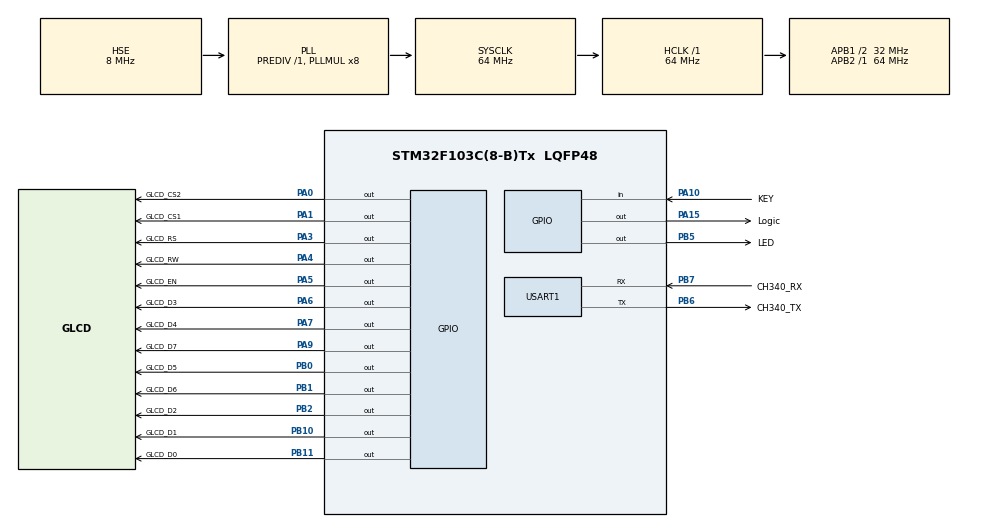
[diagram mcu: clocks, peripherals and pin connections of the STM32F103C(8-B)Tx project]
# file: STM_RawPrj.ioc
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Mcu.Family=STM32F1
Mcu.Name=STM32F103C(8-B)Tx
Mcu.Package=LQFP48
NVIC.PriorityGroup=NVIC_PRIORITYGROUP_4
PA0-WKUP.GPIO_Label=GLCD_CS2
PA0-WKUP.GPIO_Speed=GPIO_SPEED_FREQ_HIGH
PA0-WKUP.Signal=GPIO_Output
PA1.GPIO_Label=GLCD_CS1
PA1.GPIO_Speed=GPIO_SPEED_FREQ_HIGH
PA1.Signal=GPIO_Output
PA10.GPIO_Label=KEY
PA10.Signal=GPIO_Input
PA13.GPIO_Label=SYS_SWDIO
PA13.Mode=Trace_Asynchronous_SW
PA13.Signal=SYS_JTMS-SWDIO
PA14.GPIO_Label=SYS_SWCLK
PA14.Mode=Trace_Asynchronous_SW
PA14.Signal=SYS_JTCK-SWCLK
PA15.GPIO_Label=Logic
PA15.Signal=GPIO_Output
PA3.GPIO_Label=GLCD_RS
PA3.GPIO_Speed=GPIO_SPEED_FREQ_HIGH
PA3.Signal=GPIO_Output
PA4.GPIO_Label=GLCD_RW
PA4.GPIO_Speed=GPIO_SPEED_FREQ_HIGH
PA4.Signal=GPIO_Output
PA5.GPIO_Label=GLCD_EN
PA5.GPIO_Speed=GPIO_SPEED_FREQ_HIGH
PA5.Signal=GPIO_Output
PA6.GPIO_Label=GLCD_D3
PA6.GPIO_Speed=GPIO_SPEED_FREQ_HIGH
PA6.Signal=GPIO_Output
PA7.GPIO_Label=GLCD_D4
PA7.GPIO_Speed=GPIO_SPEED_FREQ_HIGH
PA7.Signal=GPIO_Output
PA9.GPIO_Label=GLCD_D7
PA9.GPIO_Speed=GPIO_SPEED_FREQ_HIGH
PA9.Signal=GPIO_Output
PB0.GPIO_Label=GLCD_D5
PB0.GPIO_Speed=GPIO_SPEED_FREQ_HIGH
PB0.Signal=GPIO_Output
PB1.GPIO_Label=GLCD_D6
PB1.GPIO_Speed=GPIO_SPEED_FREQ_HIGH
PB1.Signal=GPIO_Output
PB10.GPIO_Label=GLCD_D1
PB10.GPIO_Speed=GPIO_SPEED_FREQ_HIGH
PB10.Signal=GPIO_Output
PB11.GPIO_Label=GLCD_D0
PB11.GPIO_Speed=GPIO_SPEED_FREQ_HIGH
PB11.Signal=GPIO_Output
PB2.GPIO_Label=GLCD_D2
PB2.GPIO_Speed=GPIO_SPEED_FREQ_HIGH
PB2.Signal=GPIO_Output
PB3.GPIO_Label=SYS_SWO
PB3.Mode=Trace_Asynchronous_SW
PB3.Signal=SYS_JTDO-TRACESWO
PB5.GPIO_Label=LED
PB5.Signal=GPIO_Output
PB6.GPIO_Label=CH340_TX
PB6.Mode=Asynchronous
PB6.Signal=USART1_TX
PB7.GPIO_Label=CH340_RX
PB7.Mode=Asynchronous
PB7.Signal=USART1_RX
PC14-OSC32_IN.Mode=LSE-External-Oscillator
PC14-OSC32_IN.Signal=RCC_OSC32_IN
PC15-OSC32_OUT.Mode=LSE-External-Oscillator
PC15-OSC32_OUT.Signal=RCC_OSC32_OUT
PD0-OSC_IN.Mode=HSE-External-Oscillator
PD0-OSC_IN.Signal=RCC_OSC_IN
PD1-OSC_OUT.Mode=HSE-External-Oscillator
PD1-OSC_OUT.Signal=RCC_OSC_OUT
ProjectManager.HeapSize=0x200
ProjectManager.StackSize=0x400
ProjectManager.TargetToolchain=MDK-ARM V5.32
RCC.AHBFreq_Value=64000000
RCC.APB1CLKDivider=RCC_HCLK_DIV2
RCC.APB1Freq_Value=32000000
RCC.APB1TimFreq_Value=64000000
RCC.APB2Freq_Value=64000000
RCC.APB2TimFreq_Value=64000000
RCC.EnbaleCSS=true
RCC.HCLKFreq_Value=64000000
RCC.HSICalibrationValue=16
RCC.PLLMUL=RCC_PLL_MUL8
RCC.PLLSourceVirtual=RCC_PLLSOURCE_HSE
RCC.RCC_MCOSource=RCC_MCO1SOURCE_HSE
RCC.SYSCLKFreq_VALUE=64000000
RCC.SYSCLKSource=RCC_SYSCLKSOURCE_PLLCLK
RCC.USBFreq_Value=64000000
USART1.VirtualMode=VM_ASYNC
board=custom

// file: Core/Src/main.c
/* USER CODE BEGIN Header */
/**
  ******************************************************************************
  * @file           : main.c
  * @brief          : Main program body
  ******************************************************************************
  * @attention
  *
  * Copyright (c) 2025 STMicroelectronics.
  * All rights reserved.
  *
  * This software is licensed under terms that can be found in the LICENSE file
  * in the root directory of this software component.
  * If no LICENSE file comes with this software, it is provided AS-IS.
  *
  ******************************************************************************
  */
/* USER CODE END Header */
#include "main.h"
#include "usart.h"
#include "gpio.h"

/* USER CODE BEGIN Includes */
#include "akareza.h"
/* USER CODE END Includes */

/* USER CODE BEGIN PV */
uint32_t Counter = 0;
uint16_t Timer = 0;
char glcdBuffer[100];

const uint8_t gLCD_Logo_Scanner[1024] = {
0xE0, 0xE0, 0x20, 0x20, 0x20, 0x20, 0x20, 0x20, 0x00, 0x00, 0x00, 0x00, 0x00, 0x00, 0x00, 0x00,
0x00, 0x00, 0x00, 0x00, 0x00, 0x00, 0x00, 0x00, 0x00, 0x00, 0x00, 0x00, 0x00, 0x00, 0x00, 0x00,
0x00, 0x00, 0x00, 0x00, 0x00, 0x00, 0x00, 0x00, 0x00, 0x00, 0x00, 0x00, 0x20, 0x20, 0x20, 0x20,
0x20, 0x20, 0xE0, 0x00, 0x00, 0x00, 0x00, 0x00, 0x00, 0x00, 0x00, 0x30, 0x30, 0x30, 0x30, 0x30,
0x30, 0x30, 0x30, 0x30, 0x30, 0x30, 0x30, 0x30, 0x30, 0x30, 0x30, 0x30, 0x30, 0x30, 0x30, 0x30,
0x30, 0x30, 0x37, 0x3F, 0xFF, 0xC7, 0x07, 0x07, 0x07, 0x0F, 0x7F, 0xFF, 0xC7, 0x07, 0x07, 0x07,
0x07, 0x07, 0x07, 0x07, 0x07, 0x07, 0x07, 0x07, 0x07, 0x07, 0x07, 0x07, 0x07, 0x07, 0x07, 0x07,
0x07, 0x07, 0x07, 0x07, 0x07, 0x07, 0x07, 0x06, 0x0E, 0x0C, 0x1C, 0x38, 0x70, 0xE0, 0xC0, 0x00,
0x0F, 0x0F, 0x00, 0x00, 0x00, 0xFC, 0x00, 0x00, 0xFC, 0xFC, 0xFC, 0x00, 0x00, 0xFC, 0x00, 0xF8,
0xFC, 0x00, 0xFC, 0xFC, 0xFC, 0x00, 0x00, 0xFC, 0x00, 0x00, 0xFC, 0x00, 0xF8, 0xFC, 0x00, 0x00,
0xFC, 0xFC, 0xFC, 0x00, 0x00, 0xFC, 0x00, 0xFC, 0xFC, 0x00, 0x00, 0xFC, 0x00, 0xFC, 0x00, 0x00,
0x00, 0x00, 0x1F, 0x00, 0x00, 0x00, 0x00, 0x00, 0x00, 0x00, 0x00, 0x00, 0x00, 0x00, 0x00, 0x00,
0x00, 0x00, 0x00, 0x00, 0x00, 0x00, 0x00, 0x00, 0x00, 0x00, 0x00, 0x00, 0x00, 0x00, 0x00, 0x00,
0x00, 0x00, 0x00, 0x00, 0x01, 0x0F, 0x7E, 0xF8, 0xE0, 0x00, 0x00, 0x01, 0x0F, 0x7E, 0xF8, 0xC0,
0x00, 0x00, 0x00, 0x00, 0x00, 0x00, 0x00, 0x00, 0x00, 0x00, 0x00, 0x00, 0x00, 0x00, 0x00, 0x00,
0x00, 0x00, 0x00, 0x00, 0x00, 0x00, 0x00, 0x00, 0x00, 0x00, 0x00, 0x00, 0x00, 0x83, 0xFF, 0xFE,

0x00, 0x00, 0x00, 0x00, 0x00, 0xFF, 0x00, 0x00, 0xFF, 0xFF, 0xFF, 0x00, 0x00, 0xFF, 0x00, 0xFF,
0xFF, 0x00, 0xFF, 0xFF, 0xFF, 0x00, 0x00, 0xFF, 0x00, 0x00, 0xFF, 0x00, 0xFF, 0xFF, 0x00, 0x00,
0xFF, 0xFF, 0xFF, 0x00, 0x00, 0xFF, 0x00, 0xFF, 0xFF, 0x00, 0x00, 0xFF, 0x00, 0xFF, 0x00, 0x00,
0x00, 0x00, 0x00, 0x00, 0x00, 0x00, 0x00, 0x00, 0x00, 0x00, 0x00, 0x00, 0x00, 0x00, 0x00, 0x00,
0x00, 0x00, 0x00, 0x00, 0x00, 0x00, 0x00, 0x00, 0x00, 0x00, 0x00, 0x00, 0x00, 0x00, 0x00, 0x00,
0x80, 0x80, 0x80, 0xC0, 0xC0, 0xE0, 0x60, 0x61, 0x7F, 0x7F, 0xF8, 0xC0, 0x80, 0x80, 0x83, 0x8F,
0xFE, 0xF0, 0xC0, 0x80, 0x80, 0x80, 0x80, 0x80, 0x80, 0x80, 0x80, 0x80, 0x80, 0x80, 0x80, 0x80,
0x80, 0x80, 0x80, 0x80, 0x80, 0x80, 0xC0, 0xC0, 0xC0, 0xE0, 0x70, 0x30, 0x1C, 0x0F, 0x07, 0x00,
0xF8, 0xFC, 0x00, 0x00, 0x00, 0x1F, 0x00, 0x00, 0x13, 0x03, 0x03, 0x10, 0x00, 0x03, 0x10, 0x01,
0x03, 0x10, 0x03, 0x03, 0x13, 0x00, 0x10, 0x03, 0x00, 0x00, 0x1F, 0x00, 0x11, 0x03, 0x00, 0x10,
0x03, 0x03, 0x13, 0x00, 0x00, 0x13, 0x00, 0x13, 0x13, 0x00, 0x00, 0x13, 0x00, 0x1F, 0x00, 0x00,
0x00, 0x00, 0xFC, 0x00, 0x00, 0x00, 0x00, 0x00, 0x00, 0x00, 0x00, 0x00, 0x00, 0x80, 0x80, 0xC0,
0xC0, 0xE0, 0x60, 0x60, 0x30, 0x30, 0x38, 0x18, 0x1C, 0x1C, 0x0C, 0x0E, 0x06, 0x06, 0x03, 0x03,
0x03, 0x01, 0x01, 0x01, 0x00, 0x00, 0x00, 0x00, 0x00, 0x00, 0x01, 0x01, 0x01, 0x01, 0x01, 0x01,
0x01, 0x01, 0x01, 0x01, 0x01, 0x01, 0x01, 0x01, 0x0F, 0x3F, 0xF1, 0xC1, 0x01, 0x01, 0x01, 0x01,
0x01, 0x01, 0x01, 0x03, 0x1F, 0xFD, 0xF1, 0x80, 0x00, 0x00, 0x00, 0x00, 0x00, 0x00, 0x00, 0x00,

0x03, 0x03, 0x02, 0x02, 0x02, 0x02, 0x02, 0x02, 0x00, 0x00, 0x00, 0x00, 0x00, 0x00, 0x00, 0x00,
0x00, 0x00, 0x00, 0x00, 0x00, 0x00, 0x00, 0x00, 0x00, 0x00, 0x00, 0x00, 0x00, 0x00, 0x00, 0x00,
0x00, 0x00, 0x00, 0x00, 0x00, 0x00, 0x00, 0x00, 0x00, 0x00, 0x00, 0x00, 0x02, 0x02, 0x02, 0x02,
0x02, 0x02, 0x03, 0x00, 0x00, 0x00, 0x00, 0x00, 0x00, 0x00, 0x00, 0x03, 0x03, 0x01, 0x01, 0x01,
0x00, 0x00, 0x00, 0x00, 0x00, 0x00, 0x00, 0x00, 0x00, 0x00, 0x00, 0x00, 0x00, 0x00, 0x00, 0x00,
0x00, 0x00, 0x00, 0x00, 0x00, 0x00, 0x00, 0x00, 0x00, 0x00, 0x00, 0x00, 0x00, 0x00, 0x00, 0x00,
0x00, 0x00, 0x00, 0x00, 0x00, 0x00, 0x3E, 0xFF, 0xE3, 0x83, 0x03, 0x0F, 0x7E, 0xF0, 0xC0, 0x00,
0x00, 0x00, 0x00, 0x00, 0x00, 0x00, 0x03, 0x1F, 0xFC, 0xF0, 0x80, 0x00, 0x00, 0x00, 0x00, 0x00,
0x00, 0x00, 0x00, 0x00, 0x00, 0x00, 0x00, 0x00, 0x00, 0x00, 0x00, 0x00, 0x00, 0x00, 0x00, 0x00,
0x00, 0x00, 0x00, 0x00, 0x00, 0x00, 0x00, 0x00, 0x00, 0x00, 0x00, 0x00, 0x00, 0x00, 0x00, 0x00,
0x00, 0x00, 0x00, 0x00, 0x00, 0x00, 0x00, 0x00, 0x00, 0x00, 0x00, 0x00, 0x00, 0x00, 0x00, 0x00,
0x00, 0x00, 0x00, 0x00, 0x00, 0x00, 0x00, 0x00, 0x00, 0x00, 0x00, 0x00, 0x00, 0x00, 0x00, 0x00,
0x00, 0x00, 0x00, 0x00, 0x00, 0x00, 0x00, 0x00, 0x00, 0x00, 0x00, 0x00, 0x00, 0x00, 0x00, 0x00,
0x00, 0x00, 0x00, 0x00, 0x00, 0x00, 0x00, 0x00, 0x00, 0x00, 0x00, 0x00, 0x00, 0x00, 0x00, 0x00,
0x00, 0x00, 0x00, 0x00, 0x00, 0x00, 0x00, 0x00, 0x03, 0x07, 0x0E, 0x0C, 0x0C, 0x0D, 0x0F, 0x3E,
0xF8, 0xE0, 0x00, 0x00, 0x00, 0x00, 0x00, 0x00, 0x00, 0x03, 0x1F, 0x7E, 0xF0, 0x80, 0x00, 0x00,

0x00, 0x00, 0x00, 0x00, 0x00, 0x00, 0x00, 0x00, 0x00, 0x00, 0x00, 0x00, 0x00, 0x00, 0x00, 0x00,
0x00, 0x00, 0x00, 0x00, 0x00, 0x00, 0x00, 0x00, 0x00, 0x00, 0x00, 0x00, 0x00, 0x00, 0x00, 0x00,
0x00, 0x00, 0x00, 0x00, 0x00, 0x00, 0x00, 0x00, 0x00, 0x00, 0x00, 0x00, 0x00, 0x00, 0x00, 0x00,
0x00, 0x00, 0x00, 0x00, 0x00, 0x00, 0x00, 0x00, 0x00, 0x00, 0x00, 0x00, 0x00, 0x00, 0x00, 0x00,
0x00, 0x00, 0x00, 0x00, 0x00, 0x00, 0x00, 0x00, 0x00, 0x00, 0x00, 0x00, 0x00, 0x00, 0x00, 0x00,
0x00, 0x00, 0x00, 0x00, 0x00, 0x00, 0x00, 0x00, 0x00, 0x00, 0x00, 0x00, 0x00, 0x00, 0x00, 0x00,
0x00, 0x00, 0x00, 0x00, 0x00, 0x00, 0x00, 0x00, 0x00, 0x00, 0x00, 0x00, 0xC0, 0xF0, 0xF0, 0x30,
0x19, 0x1F, 0x0F, 0x00, 0x00, 0x00, 0x00, 0x00, 0x00, 0x00, 0x00, 0x00, 0x03, 0x1F, 0xFC, 0xF0,
0x00, 0x00, 0x00, 0x00, 0x00, 0x00, 0x00, 0x00, 0x00, 0x00, 0x00, 0x00, 0x00, 0x00, 0x00, 0x00,
0x00, 0x00, 0x00, 0x00, 0x00, 0x00, 0x00, 0x00, 0x00, 0x00, 0x00, 0x00, 0x00, 0x00, 0x00, 0x00,
0x00, 0x00, 0x00, 0x00, 0x00, 0x00, 0x00, 0x00, 0x00, 0x00, 0x00, 0x00, 0x00, 0x00, 0x00, 0x00,
0x00, 0x00, 0x00, 0x00, 0x00, 0x00, 0x00, 0x00, 0x00, 0x00, 0x00, 0x00, 0x00, 0x00, 0x00, 0x00,
0x00, 0x00, 0x00, 0x00, 0x00, 0x00, 0x00, 0x00, 0x00, 0x00, 0x00, 0x00, 0x00, 0x00, 0x00, 0x00,
0x00, 0x00, 0x00, 0x00, 0x00, 0x00, 0x00, 0x00, 0x00, 0x00, 0x00, 0x00, 0x00, 0x00, 0x00, 0x00,
0x00, 0x00, 0x00, 0x00, 0x00, 0x00, 0x00, 0x00, 0x00, 0x00, 0x00, 0x00, 0x1F, 0x7F, 0xFF, 0xC0,
0xC0, 0xC0, 0xC0, 0xC0, 0xC0, 0xC0, 0xC0, 0xC0, 0xC0, 0xE0, 0xE0, 0x70, 0x78, 0x1E, 0x0F, 0x03
};

const uint8_t gLCD_Logo_Error[1024] = {
0x00, 0x00, 0x00, 0x00, 0x00, 0x00, 0x00, 0x00, 0x00, 0x00, 0x00, 0x00, 0x00, 0x00, 0x00, 0x00,
0x00, 0x00, 0x00, 0x00, 0x00, 0x00, 0x00, 0x00, 0x00, 0x00, 0x00, 0x00, 0x00, 0x00, 0x00, 0x00,
0x00, 0x00, 0x00, 0x00, 0x00, 0x00, 0x00, 0x00, 0x00, 0x00, 0x00, 0x00, 0x00, 0x00, 0x00, 0x00,
0x00, 0x00, 0x00, 0x00, 0x00, 0x00, 0x00, 0x00, 0x00, 0x80, 0xC0, 0x70, 0x18, 0x08, 0x18, 0x38,
0xE0, 0x80, 0x00, 0x00, 0x00, 0x00, 0x00, 0x00, 0x00, 0x00, 0x00, 0x00, 0x00, 0x00, 0x00, 0x00,
0x00, 0x00, 0x00, 0x00, 0x00, 0x00, 0x00, 0x00, 0x00, 0x00, 0x00, 0x00, 0x00, 0x00, 0x00, 0x00,
0x00, 0x00, 0x00, 0x00, 0x00, 0x00, 0x00, 0x00, 0x00, 0x00, 0x00, 0x00, 0x00, 0x00, 0x00, 0x00,
0x00, 0x00, 0x00, 0x00, 0x00, 0x00, 0x00, 0x00, 0x00, 0x00, 0x00, 0x00, 0x00, 0x00, 0x00, 0x00,
0x00, 0x00, 0x00, 0x00, 0x00, 0x00, 0x00, 0x00, 0x00, 0x00, 0x00, 0x00, 0x00, 0x00, 0x00, 0x00,
0x00, 0x00, 0x00, 0x00, 0x00, 0x00, 0x00, 0x00, 0x00, 0x00, 0x00, 0x00, 0x00, 0x00, 0x00, 0x00,
0x00, 0x00, 0x00, 0x00, 0x00, 0x00, 0x00, 0x00, 0x00, 0x00, 0x00, 0x00, 0x00, 0x00, 0x00, 0x00,
0x00, 0x00, 0x00, 0x00, 0x00, 0xC0, 0xF0, 0x38, 0x0E, 0x03, 0x01, 0x80, 0xC0, 0x40, 0x40, 0xC0,
0x80, 0x03, 0x07, 0x1C, 0x70, 0xC0, 0x80, 0x00, 0x00, 0x00, 0x00, 0x00, 0x00, 0x00, 0x00, 0x00,
0x00, 0x00, 0x00, 0x00, 0x00, 0x00, 0x00, 0x00, 0x00, 0x00, 0x00, 0x00, 0x00, 0x00, 0x00, 0x00,
0x00, 0x00, 0x00, 0x00, 0x00, 0x00, 0x00, 0x00, 0x00, 0x00, 0x00, 0x00, 0x00, 0x00, 0x00, 0x00,
0x00, 0x00, 0x00, 0x00, 0x00, 0x00, 0x00, 0x00, 0x00, 0x00, 0x00, 0x00, 0x00, 0x00, 0x00, 0x00,

0x00, 0x00, 0x00, 0x00, 0x00, 0x00, 0x00, 0x00, 0x00, 0x00, 0x00, 0x00, 0x00, 0x00, 0x00, 0x00,
0x00, 0x00, 0x00, 0x00, 0x00, 0x00, 0x00, 0x00, 0x00, 0x00, 0x00, 0x00, 0x00, 0x00, 0x00, 0x00,
0x00, 0x00, 0x00, 0x00, 0x00, 0x00, 0x00, 0x00, 0x00, 0x00, 0x00, 0x00, 0x00, 0x00, 0x00, 0x00,
0x80, 0xE0, 0x38, 0x1C, 0x07, 0x01, 0x00, 0x00, 0x00, 0x00, 0xFF, 0xFF, 0x00, 0x00, 0x00, 0x01,
0xFF, 0x00, 0x00, 0x00, 0x00, 0x01, 0x03, 0x0E, 0x38, 0x70, 0xC0, 0x00, 0x00, 0x00, 0x00, 0x00,
0x00, 0x00, 0x00, 0x00, 0x00, 0x00, 0x00, 0x00, 0x00, 0x00, 0x00, 0x00, 0x00, 0x00, 0x00, 0x00,
0x00, 0x00, 0x00, 0x00, 0x00, 0x00, 0x00, 0x00, 0x00, 0x00, 0x00, 0x00, 0x00, 0x00, 0x00, 0x00,
0x00, 0x00, 0x00, 0x00, 0x00, 0x00, 0x00, 0x00, 0x00, 0x00, 0x00, 0x00, 0x00, 0x00, 0x00, 0x00,
0x00, 0x00, 0x00, 0x00, 0x00, 0x00, 0x00, 0x00, 0x00, 0x00, 0x00, 0x00, 0x00, 0x00, 0x00, 0x00,
0x00, 0x00, 0x00, 0x00, 0x00, 0x00, 0x00, 0x00, 0x00, 0x00, 0x00, 0x00, 0x00, 0x00, 0x00, 0x00,
0x00, 0x00, 0x00, 0x00, 0x00, 0x00, 0x00, 0x00, 0x00, 0x00, 0x00, 0x00, 0xC0, 0x70, 0x1C, 0x0E,
0x03, 0x00, 0x00, 0x00, 0x00, 0x00, 0x00, 0x00, 0x00, 0x00, 0x03, 0x8F, 0x88, 0xD8, 0xD8, 0x8C,
0x07, 0x00, 0x00, 0x00, 0x00, 0x00, 0x00, 0x00, 0x00, 0x00, 0x01, 0x07, 0x1C, 0x38, 0xE0, 0x80,
0x00, 0x00, 0x00, 0x00, 0x00, 0x00, 0x00, 0x00, 0x00, 0x00, 0x00, 0x00, 0x00, 0x00, 0x00, 0x00,
0x00, 0x00, 0x00, 0x00, 0x00, 0x00, 0x00, 0x00, 0x00, 0x00, 0x00, 0x00, 0x00, 0x00, 0x00, 0x00,
0x00, 0x00, 0x00, 0x00, 0x00, 0x00, 0x00, 0x00, 0x00, 0x00, 0x00, 0x00, 0x00, 0x00, 0x00, 0x00,

0x00, 0x00, 0x00, 0x00, 0x00, 0x00, 0x00, 0x00, 0x00, 0x00, 0x00, 0x00, 0x00, 0x00, 0x00, 0x00,
0x00, 0x00, 0x00, 0x00, 0x00, 0x00, 0x00, 0x00, 0x00, 0x00, 0x00, 0x00, 0x00, 0x00, 0x00, 0x00,
0x00, 0x00, 0x00, 0x00, 0x00, 0x00, 0x00, 0xC0, 0xE0, 0x38, 0x0E, 0x07, 0x01, 0x00, 0x00, 0x00,
0x00, 0x00, 0x00, 0x00, 0x00, 0x00, 0x00, 0x00, 0x00, 0x00, 0x0F, 0x1F, 0x30, 0x30, 0x30, 0x19,
0x0F, 0x00, 0x00, 0x00, 0x00, 0x00, 0x00, 0x00, 0x00, 0x00, 0x00, 0x00, 0x00, 0x00, 0x00, 0x03,
0x0E, 0x1C, 0x70, 0xC0, 0x00, 0x00, 0x00, 0x00, 0x00, 0x00, 0x00, 0x00, 0x00, 0x00, 0x00, 0x00,
0x00, 0x00, 0x00, 0x00, 0x00, 0x00, 0x00, 0x00, 0x00, 0x00, 0x00, 0x00, 0x00, 0x00, 0x00, 0x00,
0x00, 0x00, 0x00, 0x00, 0x00, 0x00, 0x00, 0x00, 0x00, 0x00, 0x00, 0x00, 0x00, 0x00, 0x00, 0x00,
0x00, 0x00, 0x00, 0x00, 0x00, 0x00, 0x00, 0x00, 0x00, 0x00, 0x00, 0x00, 0x00, 0x00, 0x00, 0x00,
0x00, 0x00, 0x00, 0x00, 0x00, 0x00, 0x00, 0x00, 0x00, 0x00, 0x00, 0x00, 0x00, 0x00, 0x00, 0x00,
0x00, 0x00, 0x00, 0x00, 0x00, 0x00, 0x00, 0x03, 0x03, 0x06, 0x06, 0x06, 0x06, 0x06, 0x06, 0x06,
0x06, 0x06, 0x06, 0x06, 0x06, 0x06, 0x06, 0x06, 0x06, 0x06, 0x06, 0x06, 0x06, 0x06, 0x06, 0x06,
0x06, 0x06, 0x06, 0x06, 0x06, 0x06, 0x06, 0x06, 0x06, 0x06, 0x06, 0x06, 0x06, 0x06, 0x06, 0x06,
0x06, 0x06, 0x06, 0x03, 0x00, 0x00, 0x00, 0x00, 0x00, 0x00, 0x00, 0x00, 0x00, 0x00, 0x00, 0x00,
0x00, 0x00, 0x00, 0x00, 0x00, 0x00, 0x00, 0x00, 0x00, 0x00, 0x00, 0x00, 0x00, 0x00, 0x00, 0x00,
0x00, 0x00, 0x00, 0x00, 0x00, 0x00, 0x00, 0x00, 0x00, 0x00, 0x00, 0x00, 0x00, 0x00, 0x00, 0x00,

0x00, 0x00, 0x00, 0x00, 0x00, 0x00, 0x00, 0x00, 0x00, 0x00, 0x00, 0x00, 0x00, 0x00, 0x00, 0x00,
0x00, 0x00, 0x00, 0x00, 0x00, 0x00, 0x00, 0x00, 0x00, 0x00, 0x00, 0x00, 0x00, 0x00, 0x00, 0x00,
0x00, 0x00, 0x00, 0x00, 0x00, 0x00, 0x00, 0x00, 0x00, 0x00, 0x00, 0x00, 0x00, 0x00, 0x00, 0x00,
0x00, 0x00, 0x00, 0x00, 0x00, 0x00, 0x00, 0x00, 0x00, 0x00, 0x00, 0x00, 0x00, 0x00, 0x00, 0x00,
0x00, 0x00, 0x00, 0x00, 0x00, 0x00, 0x00, 0x00, 0x00, 0x00, 0x00, 0x00, 0x00, 0x00, 0x00, 0x00,
0x00, 0x00, 0x00, 0x00, 0x00, 0x00, 0x00, 0x00, 0x00, 0x00, 0x00, 0x00, 0x00, 0x00, 0x00, 0x00,
0x00, 0x00, 0x00, 0x00, 0x00, 0x00, 0x00, 0x00, 0x00, 0x00, 0x00, 0x00, 0x00, 0x00, 0x00, 0x00,
0x00, 0x00, 0x00, 0x00, 0x00, 0x00, 0x00, 0x00, 0x00, 0x00, 0x00, 0x00, 0x00, 0x00, 0x00, 0x00,
0x00, 0x00, 0x00, 0x00, 0x00, 0x00, 0x00, 0x00, 0x00, 0x00, 0x00, 0x00, 0x00, 0x00, 0x00, 0x00,
0x00, 0x00, 0x00, 0x00, 0x00, 0x00, 0x00, 0x00, 0x00, 0x00, 0x00, 0x00, 0x00, 0x00, 0x00, 0x00,
0x00, 0x00, 0x00, 0x00, 0x00, 0x00, 0x00, 0x00, 0x00, 0x00, 0x00, 0x00, 0x00, 0x00, 0x00, 0x00,
0x00, 0x00, 0x00, 0x00, 0x00, 0x00, 0x00, 0x00, 0x00, 0x00, 0x00, 0x00, 0x00, 0x00, 0x00, 0x00,
0x00, 0x00, 0x00, 0x00, 0x00, 0x00, 0x00, 0x00, 0x00, 0x00, 0x00, 0x00, 0x00, 0x00, 0x00, 0x00,
0x00, 0x00, 0x00, 0x00, 0x00, 0x00, 0x00, 0x00, 0x00, 0x00, 0x00, 0x00, 0x00, 0x00, 0x00, 0x00,
0x00, 0x00, 0x00, 0x00, 0x00, 0x00, 0x00, 0x00, 0x00, 0x00, 0x00, 0x00, 0x00, 0x00, 0x00, 0x00,
0x00, 0x00, 0x00, 0x00, 0x00, 0x00, 0x00, 0x00, 0x00, 0x00, 0x00, 0x00, 0x00, 0x00, 0x00, 0x00
};

// this file generated by Image2GLCD
const uint8_t gLCD_Logo_Done[1024] = {
0x00, 0x00, 0x00, 0x00, 0x00, 0x00, 0x00, 0x00, 0x00, 0x00, 0x00, 0x00, 0x00, 0x00, 0x00, 0x00,
0x00, 0x00, 0x80, 0x80, 0xC0, 0xC0, 0xE0, 0xE0, 0xE0, 0xF0, 0xF0, 0xF0, 0xF0, 0xF0, 0xF0, 0xF0,
0xF0, 0xF0, 0xF0, 0xF0, 0xF0, 0xF0, 0xF0, 0xF0, 0xF0, 0xF0, 0xF0, 0xF0, 0xF0, 0xF0, 0xF0, 0xF0,
0xF0, 0xF0, 0xF0, 0xF0, 0xF0, 0xF0, 0xF0, 0xF0, 0xF0, 0xF0, 0xF0, 0xF0, 0xF0, 0xF0, 0xF0, 0xF0,
0xF0, 0xF0, 0xF0, 0xF0, 0xF0, 0xF0, 0xF0, 0xF0, 0xF0, 0xF0, 0xF0, 0xF0, 0xF0, 0xF0, 0xF0, 0xF0,
0xF0, 0xF0, 0xF0, 0xF0, 0xF0, 0xF0, 0xF0, 0xF0, 0xF0, 0xF0, 0xF0, 0xF0, 0xF0, 0xF0, 0xF0, 0xF0,
0xF0, 0xF0, 0xE0, 0xE0, 0xE0, 0xC0, 0xC0, 0x80, 0x00, 0x00, 0x00, 0x00, 0x00, 0x00, 0x00, 0x00,
0x00, 0x00, 0x00, 0x00, 0x00, 0x00, 0x00, 0x00, 0x00, 0x00, 0x00, 0x00, 0x00, 0x00, 0x00, 0x00,
0x00, 0x00, 0x00, 0x00, 0x00, 0x00, 0x00, 0x00, 0x00, 0x00, 0x00, 0x00, 0x00, 0x80, 0xF0, 0xF8,
0xFE, 0xFF, 0xFF, 0xFF, 0xFF, 0xFF, 0xFF, 0xFF, 0xFF, 0xFF, 0xFF, 0xFF, 0xFF, 0xFF, 0xFF, 0xFF,
0xFF, 0xFF, 0xFF, 0xFF, 0x7F, 0x3F, 0x3F, 0x1F, 0x0F, 0x8F, 0xDF, 0xFF, 0xFF, 0xFF, 0xFF, 0xFF,
0xFF, 0xFF, 0xFF, 0xFF, 0xFF, 0xFF, 0xFF, 0xFF, 0x03, 0x03, 0x03, 0xF3, 0xF3, 0xE3, 0x07, 0x07,
0xFF, 0xFF, 0x0F, 0x07, 0x03, 0xE3, 0xF3, 0xF3, 0x03, 0x07, 0x0F, 0xFF, 0xFF, 0x03, 0x03, 0x03,
0x03, 0x1F, 0x7F, 0xFF, 0x03, 0x03, 0xFF, 0xFF, 0xFF, 0x03, 0x03, 0xF3, 0xF3, 0xF3, 0xF3, 0xF3,
0xFF, 0xFF, 0xFF, 0xFF, 0xFF, 0xFF, 0xFF, 0xFF, 0xFF, 0xFF, 0xFE, 0xFC, 0xF0, 0x80, 0x00, 0x00,
0x00, 0x00, 0x00, 0x00, 0x00, 0x00, 0x00, 0x00, 0x00, 0x00, 0x00, 0x00, 0x00, 0x00, 0x00, 0x00,

0x00, 0x00, 0x00, 0x00, 0x00, 0x00, 0x00, 0x00, 0x00, 0x00, 0x00, 0x00, 0x00, 0x07, 0x3F, 0x7F,
0xFF, 0xFF, 0xFF, 0xFF, 0xF8, 0xF8, 0xF0, 0xE1, 0xC3, 0x87, 0x8F, 0x0F, 0x1F, 0x0F, 0x8F, 0x87,
0xC3, 0xE1, 0xF1, 0xF0, 0xF8, 0xFC, 0xFE, 0xFE, 0xFF, 0xFF, 0xFF, 0xFF, 0xFF, 0xFF, 0xFF, 0xFF,
0xFF, 0xFF, 0xFF, 0xFF, 0xFF, 0xFF, 0xFF, 0xFF, 0x00, 0x00, 0x00, 0x3F, 0x3F, 0x3F, 0x00, 0x80,
0xFF, 0xFF, 0xC0, 0x00, 0x00, 0x3F, 0x3F, 0x3F, 0x00, 0x00, 0x80, 0xFF, 0xFF, 0x00, 0x00, 0x00,
0xFF, 0xF8, 0xC0, 0x03, 0x00, 0x00, 0xFF, 0xFF, 0xFF, 0x00, 0x00, 0x3C, 0x3C, 0x3C, 0x3C, 0x3F,
0xFF, 0xFF, 0xFF, 0xFF, 0xFF, 0xFF, 0xFF, 0xFF, 0xFF, 0xFF, 0xFF, 0x7F, 0x3F, 0x07, 0x00, 0x00,
0x00, 0x00, 0x00, 0x00, 0x00, 0x00, 0x00, 0x00, 0x00, 0x00, 0x00, 0x00, 0x00, 0x00, 0x00, 0x00,
0x00, 0x00, 0x00, 0x00, 0x00, 0x00, 0x00, 0x00, 0x00, 0x00, 0x00, 0x00, 0x00, 0x00, 0x00, 0x00,
0x01, 0x03, 0x03, 0x07, 0x0F, 0x0F, 0x1F, 0x1F, 0x1F, 0x1F, 0x3F, 0x3F, 0x3E, 0x3F, 0x3F, 0x3F,
0x3F, 0x3F, 0x3F, 0x3F, 0x3F, 0x3F, 0x3F, 0x3F, 0x3F, 0x3F, 0x3F, 0x3F, 0x3F, 0x3F, 0x3F, 0x3F,
0x3F, 0x3F, 0x3F, 0x3F, 0x3F, 0x3F, 0x3F, 0x3F, 0x3F, 0x3F, 0x3F, 0x3F, 0x3F, 0x3F, 0x3F, 0x3F,
0x3F, 0x3F, 0x3F, 0x3F, 0x3F, 0x3F, 0x3F, 0x3F, 0x3F, 0x3F, 0x3F, 0x3F, 0x3F, 0x3F, 0x3F, 0x3F,
0x3F, 0x3F, 0x3F, 0x3F, 0x3F, 0x3F, 0x3F, 0x3F, 0x3F, 0x3F, 0x3F, 0x3F, 0x3F, 0x3F, 0x3F, 0x3F,
0x3F, 0x1F, 0x1F, 0x1F, 0x0F, 0x0F, 0x07, 0x07, 0x03, 0x01, 0x00, 0x00, 0x00, 0x00, 0x00, 0x00,
0x00, 0x00, 0x00, 0x00, 0x00, 0x00, 0x00, 0x00, 0x00, 0x00, 0x00, 0x00, 0x00, 0x00, 0x00, 0x00,

0x00, 0x00, 0x00, 0x00, 0x00, 0x00, 0x00, 0x00, 0x00, 0x00, 0x00, 0x00, 0x00, 0x00, 0x00, 0x00,
0x00, 0x00, 0x00, 0x00, 0x00, 0x00, 0x00, 0x00, 0x00, 0x00, 0x00, 0x00, 0x00, 0x00, 0x00, 0x00,
0x00, 0x00, 0x00, 0x00, 0x00, 0x00, 0x00, 0x00, 0x00, 0x00, 0x00, 0x00, 0x00, 0x00, 0x00, 0x00,
0x00, 0x00, 0x00, 0x00, 0x00, 0x00, 0x00, 0x00, 0x00, 0x00, 0x00, 0x00, 0x00, 0x00, 0x00, 0x00,
0x00, 0x00, 0x00, 0x00, 0x00, 0x00, 0x00, 0x00, 0x00, 0x00, 0x00, 0x00, 0x00, 0x00, 0x00, 0x00,
0x00, 0x00, 0x00, 0x00, 0x00, 0x00, 0x00, 0x00, 0x00, 0x00, 0x00, 0x00, 0x00, 0x00, 0x00, 0x00,
0x00, 0x00, 0x00, 0x00, 0x00, 0x00, 0x00, 0x00, 0x00, 0x00, 0x00, 0x00, 0x00, 0x00, 0x00, 0x00,
0x00, 0x00, 0x00, 0x00, 0x00, 0x00, 0x00, 0x00, 0x00, 0x00, 0x00, 0x00, 0x00, 0x00, 0x00, 0x00,
0x00, 0x00, 0x00, 0x00, 0x00, 0x00, 0x00, 0x00, 0x00, 0x00, 0x00, 0x00, 0x00, 0x00, 0x00, 0x00,
0x00, 0x00, 0x00, 0x00, 0x00, 0x00, 0x00, 0x00, 0x00, 0x00, 0x00, 0x00, 0x00, 0x00, 0x00, 0x00,
0x00, 0x00, 0x00, 0x00, 0x00, 0x00, 0x00, 0x00, 0x00, 0x00, 0x00, 0x00, 0x00, 0x00, 0x00, 0x00,
0x00, 0x00, 0x00, 0x00, 0x00, 0x00, 0x00, 0x00, 0x00, 0x00, 0x00, 0x00, 0x00, 0x00, 0x00, 0x00,
0x00, 0x00, 0x00, 0x00, 0x00, 0x00, 0x00, 0x00, 0x00, 0x00, 0x00, 0x00, 0x00, 0x00, 0x00, 0x00,
0x00, 0x00, 0x00, 0x00, 0x00, 0x00, 0x00, 0x00, 0x00, 0x00, 0x00, 0x00, 0x00, 0x00, 0x00, 0x00,
0x00, 0x00, 0x00, 0x00, 0x00, 0x00, 0x00, 0x00, 0x00, 0x00, 0x00, 0x00, 0x00, 0x00, 0x00, 0x00,
0x00, 0x00, 0x00, 0x00, 0x00, 0x00, 0x00, 0x00, 0x00, 0x00, 0x00, 0x00, 0x00, 0x00, 0x00, 0x00,

0x00, 0x00, 0x00, 0x00, 0x00, 0x00, 0x00, 0x00, 0x00, 0x00, 0x00, 0x00, 0x00, 0x00, 0x00, 0x00,
0x00, 0x00, 0x00, 0x00, 0x00, 0x00, 0x00, 0x00, 0x00, 0x00, 0x00, 0x00, 0x00, 0x00, 0x00, 0x00,
0x00, 0x00, 0x00, 0x00, 0x00, 0x00, 0x00, 0x00, 0x00, 0x00, 0x00, 0x00, 0x00, 0x00, 0x00, 0x00,
0x00, 0x00, 0x00, 0x00, 0x00, 0x00, 0x00, 0x00, 0x00, 0x00, 0x00, 0x00, 0x00, 0x00, 0x00, 0x00,
0x00, 0x00, 0x00, 0x00, 0x00, 0x00, 0x00, 0x00, 0x00, 0x00, 0x00, 0x00, 0x00, 0x00, 0x00, 0x00,
0x00, 0x00, 0x00, 0x00, 0x00, 0x00, 0x00, 0x00, 0x00, 0x00, 0x00, 0x00, 0x00, 0x00, 0x00, 0x00,
0x00, 0x00, 0x00, 0x00, 0x00, 0x00, 0x00, 0x00, 0x00, 0x00, 0x00, 0x00, 0x00, 0x00, 0x00, 0x00,
0x00, 0x00, 0x00, 0x00, 0x00, 0x00, 0x00, 0x00, 0x00, 0x00, 0x00, 0x00, 0x00, 0x00, 0x00, 0x00,
0x00, 0x00, 0x00, 0x00, 0x00, 0x00, 0x00, 0x00, 0x00, 0x00, 0x00, 0x00, 0x00, 0x00, 0x00, 0x00,
0x00, 0x00, 0x00, 0x00, 0x00, 0x00, 0x00, 0x00, 0x00, 0x00, 0x00, 0x00, 0x00, 0x00, 0x00, 0x00,
0x00, 0x00, 0x00, 0x00, 0x00, 0x00, 0x00, 0x00, 0x00, 0x00, 0x00, 0x00, 0x00, 0x00, 0x00, 0x00,
0x00, 0x00, 0x00, 0x00, 0x00, 0x00, 0x00, 0x00, 0x00, 0x00, 0x00, 0x00, 0x00, 0x00, 0x00, 0x00,
0x00, 0x00, 0x00, 0x00, 0x00, 0x00, 0x00, 0x00, 0x00, 0x00, 0x00, 0x00, 0x00, 0x00, 0x00, 0x00,
0x00, 0x00, 0x00, 0x00, 0x00, 0x00, 0x00, 0x00, 0x00, 0x00, 0x00, 0x00, 0x00, 0x00, 0x00, 0x00,
0x00, 0x00, 0x00, 0x00, 0x00, 0x00, 0x00, 0x00, 0x00, 0x00, 0x00, 0x00, 0x00, 0x00, 0x00, 0x00,
0x00, 0x00, 0x00, 0x00, 0x00, 0x00, 0x00, 0x00, 0x00, 0x00, 0x00, 0x00, 0x00, 0x00, 0x00, 0x00
};

const uint8_t gLCD_Logo_Progress[1024] = {
0x00, 0x00, 0x00, 0x00, 0x00, 0x00, 0x00, 0x00, 0x00, 0x00, 0x00, 0x00, 0x00, 0x00, 0x00, 0x00,
0x00, 0x00, 0x00, 0x00, 0x00, 0x00, 0x00, 0x00, 0x00, 0x00, 0x00, 0x00, 0x00, 0x00, 0x00, 0x00,
0x00, 0x00, 0x00, 0x00, 0x00, 0x00, 0x00, 0x00, 0x00, 0x00, 0x00, 0x00, 0x00, 0x00, 0x00, 0x00,
0x00, 0x80, 0xC0, 0xC0, 0x60, 0x60, 0x30, 0x30, 0x30, 0x10, 0x18, 0x18, 0x18, 0x18, 0x18, 0x18,
0x18, 0x18, 0x10, 0x30, 0x30, 0x30, 0x60, 0x60, 0xC0, 0xC0, 0x80, 0x00, 0x00, 0x00, 0x00, 0x00,
0x00, 0x00, 0x00, 0x00, 0x00, 0x00, 0x00, 0x00, 0x00, 0x00, 0x00, 0x00, 0x00, 0x00, 0x00, 0x00,
0x00, 0x00, 0x00, 0x00, 0x00, 0x00, 0x00, 0x00, 0x00, 0x00, 0x00, 0x00, 0x00, 0x00, 0x00, 0x00,
0x00, 0x00, 0x00, 0x00, 0x00, 0x00, 0x00, 0x00, 0x00, 0x00, 0x00, 0x00, 0x00, 0x00, 0x00, 0x00,
0x00, 0x00, 0x00, 0x00, 0x00, 0x00, 0x00, 0x00, 0x00, 0x00, 0x00, 0x00, 0x00, 0x00, 0x00, 0x00,
0x00, 0x00, 0x00, 0x00, 0x00, 0x00, 0x00, 0x00, 0x00, 0x00, 0x00, 0x00, 0x00, 0x00, 0x00, 0x00,
0x00, 0x00, 0x00, 0x00, 0x00, 0x00, 0x00, 0x00, 0x00, 0x00, 0xC0, 0xE0, 0x30, 0x1C, 0x0E, 0x07,
0x03, 0x01, 0x00, 0x00, 0x00, 0x00, 0x00, 0x00, 0x00, 0x00, 0x00, 0x00, 0xF8, 0xFC, 0xFE, 0xFC,
0xFC, 0xF8, 0xF0, 0xF0, 0xE0, 0xC0, 0xC0, 0x80, 0x80, 0x00, 0x01, 0x03, 0x07, 0x0E, 0x1C, 0x38,
0xE0, 0xC0, 0x00, 0x00, 0x00, 0x00, 0x00, 0x00, 0x00, 0x00, 0x00, 0x00, 0x00, 0x00, 0x00, 0x00,
0x00, 0x00, 0x00, 0x00, 0x00, 0x00, 0x00, 0x00, 0x00, 0x00, 0x00, 0x00, 0x00, 0x00, 0x00, 0x00,
0x00, 0x00, 0x00, 0x00, 0x00, 0x00, 0x00, 0x00, 0x00, 0x00, 0x00, 0x00, 0x00, 0x00, 0x00, 0x00,

0x00, 0x00, 0x00, 0x00, 0x00, 0x00, 0x00, 0x00, 0x00, 0x00, 0x00, 0x00, 0x00, 0x00, 0x00, 0x00,
0x00, 0x00, 0x00, 0x00, 0x00, 0x00, 0x00, 0x00, 0x00, 0x00, 0x00, 0x00, 0x00, 0x00, 0x00, 0x00,
0x00, 0x00, 0x00, 0x00, 0x00, 0x00, 0x00, 0x00, 0xF8, 0xFE, 0x07, 0x00, 0x00, 0x00, 0x00, 0x00,
0x00, 0x00, 0x00, 0x00, 0x00, 0x00, 0x00, 0x00, 0x00, 0x00, 0x00, 0x0F, 0xFF, 0xFF, 0xFF, 0xFF,
0xFF, 0xFF, 0xFF, 0xFF, 0xFF, 0xFF, 0xFF, 0x7F, 0x3F, 0x1F, 0x1E, 0x1E, 0x04, 0x00, 0x00, 0x00,
0x00, 0x03, 0x7F, 0xF8, 0x00, 0x00, 0x00, 0x00, 0x00, 0x00, 0x00, 0x00, 0x00, 0x00, 0x00, 0x00,
0x00, 0x00, 0x00, 0x00, 0x00, 0x00, 0x00, 0x00, 0x00, 0x00, 0x00, 0x00, 0x00, 0x00, 0x00, 0x00,
0x00, 0x00, 0x00, 0x00, 0x00, 0x00, 0x00, 0x00, 0x00, 0x00, 0x00, 0x00, 0x00, 0x00, 0x00, 0x00,
0x00, 0x00, 0x00, 0x00, 0x00, 0x00, 0x00, 0x00, 0x00, 0x00, 0x00, 0x00, 0x00, 0x00, 0x00, 0x00,
0x00, 0x00, 0x00, 0x00, 0x00, 0x00, 0x00, 0x00, 0x00, 0x00, 0x00, 0x00, 0x00, 0x00, 0x00, 0x00,
0x00, 0x00, 0x00, 0x00, 0x00, 0x00, 0x00, 0x00, 0x3F, 0xFC, 0x80, 0x00, 0x00, 0x00, 0x00, 0x00,
0xE0, 0xF0, 0xF0, 0xF8, 0xFC, 0xFC, 0xFE, 0xFE, 0xFE, 0xFF, 0xFF, 0xFF, 0xFF, 0xFF, 0xFF, 0xFF,
0xE3, 0x03, 0x01, 0x01, 0x01, 0x01, 0x00, 0x00, 0x00, 0x00, 0x00, 0x00, 0x00, 0x00, 0x00, 0x00,
0x00, 0x80, 0xF8, 0x7F, 0x00, 0x00, 0x00, 0x00, 0x00, 0x00, 0x00, 0x00, 0x00, 0x00, 0x00, 0x00,
0x00, 0x00, 0x00, 0x00, 0x00, 0x00, 0x00, 0x00, 0x00, 0x00, 0x00, 0x00, 0x00, 0x00, 0x00, 0x00,
0x00, 0x00, 0x00, 0x00, 0x00, 0x00, 0x00, 0x00, 0x00, 0x00, 0x00, 0x00, 0x00, 0x00, 0x00, 0x00,

0x00, 0x00, 0x00, 0x00, 0x00, 0x00, 0x00, 0x00, 0x00, 0x00, 0x00, 0x00, 0x00, 0x00, 0x00, 0x00,
0x00, 0x00, 0x00, 0x00, 0x00, 0x00, 0x00, 0x00, 0x00, 0x00, 0x00, 0x00, 0x00, 0x00, 0x00, 0x00,
0x00, 0x00, 0x00, 0x00, 0x00, 0x00, 0x00, 0x00, 0x00, 0x01, 0x07, 0x1C, 0x38, 0x60, 0xC0, 0x80,
0x00, 0x01, 0x03, 0x03, 0x07, 0x07, 0x0F, 0x1F, 0x1F, 0x3F, 0x7F, 0x7F, 0xFF, 0xFF, 0xFF, 0x6F,
0x03, 0x00, 0x00, 0x00, 0x00, 0x00, 0x00, 0x00, 0x00, 0x00, 0x00, 0x00, 0x00, 0xFE, 0xFE, 0xF8,
0x5C, 0x67, 0x61, 0x20, 0x00, 0x00, 0x00, 0x00, 0x00, 0x00, 0x00, 0x00, 0x00, 0x00, 0x00, 0x00,
0x00, 0x00, 0x00, 0x00, 0x00, 0x00, 0x00, 0x00, 0x00, 0x00, 0x00, 0x00, 0x00, 0x00, 0x00, 0x00,
0x00, 0x00, 0x00, 0x00, 0x00, 0x00, 0x00, 0x00, 0x00, 0x00, 0x00, 0x00, 0x00, 0x00, 0x00, 0x00,
0x00, 0x00, 0x00, 0x00, 0x00, 0x00, 0x00, 0x00, 0x00, 0x00, 0x00, 0x00, 0x00, 0x00, 0x00, 0x00,
0x00, 0x00, 0x00, 0x00, 0x00, 0x00, 0x00, 0x00, 0x00, 0x00, 0x00, 0x00, 0x00, 0x00, 0x00, 0x00,
0x00, 0x00, 0x00, 0x00, 0x00, 0x00, 0x00, 0x00, 0x00, 0x00, 0x00, 0x00, 0x00, 0x00, 0x00, 0x01,
0x03, 0x06, 0x06, 0x0C, 0x08, 0x18, 0x18, 0x30, 0x30, 0x30, 0x20, 0x20, 0x20, 0x60, 0x20, 0x00,
0x00, 0x00, 0x00, 0x00, 0x00, 0x00, 0x00, 0x00, 0x00, 0x00, 0x00, 0x00, 0x00, 0x00, 0x00, 0x00,
0x00, 0x00, 0x00, 0x00, 0x00, 0x00, 0x00, 0x00, 0x00, 0x00, 0x00, 0x00, 0x00, 0x00, 0x00, 0x00,
0x00, 0x00, 0x00, 0x00, 0x00, 0x00, 0x00, 0x00, 0x00, 0x00, 0x00, 0x00, 0x00, 0x00, 0x00, 0x00,
0x00, 0x00, 0x00, 0x00, 0x00, 0x00, 0x00, 0x00, 0x00, 0x00, 0x00, 0x00, 0x00, 0x00, 0x00, 0x00,

0x00, 0x00, 0x00, 0x00, 0x00, 0x00, 0x00, 0x00, 0x00, 0x00, 0x00, 0x00, 0x00, 0x00, 0x00, 0x00,
0x00, 0x00, 0x00, 0x00, 0x00, 0x00, 0x00, 0x00, 0x00, 0x00, 0x00, 0x00, 0x00, 0x00, 0x00, 0x00,
0x00, 0x00, 0x00, 0x00, 0x00, 0x00, 0x00, 0x00, 0x00, 0x00, 0x00, 0x00, 0x00, 0x00, 0x00, 0x00,
0x00, 0x00, 0x00, 0x00, 0x00, 0x00, 0x00, 0x00, 0x00, 0x00, 0x00, 0x00, 0x00, 0x00, 0x00, 0x00,
0x00, 0x00, 0x00, 0x00, 0x00, 0x00, 0x00, 0x00, 0x00, 0x00, 0x00, 0x00, 0x00, 0x00, 0x00, 0x00,
0x00, 0x00, 0x00, 0x00, 0x00, 0x00, 0x00, 0x00, 0x00, 0x00, 0x00, 0x00, 0x00, 0x00, 0x00, 0x00,
0x00, 0x00, 0x00, 0x00, 0x00, 0x00, 0x00, 0x00, 0x00, 0x00, 0x00, 0x00, 0x00, 0x00, 0x00, 0x00,
0x00, 0x00, 0x00, 0x00, 0x00, 0x00, 0x00, 0x00, 0x00, 0x00, 0x00, 0x00, 0x00, 0x00, 0x00, 0x00,
0x00, 0x00, 0x00, 0x00, 0x00, 0x00, 0x00, 0x00, 0x00, 0x00, 0x00, 0x00, 0x00, 0x00, 0x00, 0x00,
0x00, 0x00, 0x00, 0x00, 0x00, 0x00, 0x00, 0x00, 0x00, 0x00, 0x00, 0x00, 0x00, 0x00, 0x00, 0x00,
0x00, 0x00, 0x00, 0x00, 0x00, 0x00, 0x00, 0x00, 0x00, 0x00, 0x00, 0x00, 0x00, 0x00, 0x00, 0x00,
0x00, 0x00, 0x00, 0x00, 0x00, 0x00, 0x00, 0x00, 0x00, 0x00, 0x00, 0x00, 0x00, 0x00, 0x00, 0x00,
0x00, 0x00, 0x00, 0x00, 0x00, 0x00, 0x00, 0x00, 0x00, 0x00, 0x00, 0x00, 0x00, 0x00, 0x00, 0x00,
0x00, 0x00, 0x00, 0x00, 0x00, 0x00, 0x00, 0x00, 0x00, 0x00, 0x00, 0x00, 0x00, 0x00, 0x00, 0x00,
0x00, 0x00, 0x00, 0x00, 0x00, 0x00, 0x00, 0x00, 0x00, 0x00, 0x00, 0x00, 0x00, 0x00, 0x00, 0x00,
0x00, 0x00, 0x00, 0x00, 0x00, 0x00, 0x00, 0x00, 0x00, 0x00, 0x00, 0x00, 0x00, 0x00, 0x00, 0x00
};
/* USER CODE END PV */

void SystemClock_Config(void);

int main(void)
{

  /* MCU Configuration--------------------------------------------------------*/

  /* Reset of all peripherals, Initializes the Flash interface and the Systick. */
  HAL_Init();

  /* Configure the system clock */
  SystemClock_Config();

  /* Initialize all configured peripherals */
  MX_GPIO_Init();
  MX_USART1_UART_Init();
  /* USER CODE BEGIN 2 */
	glcd_Init();
	glcd_puts("aKaReZa");
  /* USER CODE END 2 */

  /* Infinite loop */
  while (1)
  {

    /* USER CODE BEGIN 3 */
		HAL_GPIO_TogglePin(Logic_GPIO_Port, Logic_Pin);
		Timer++;
		Counter++;
		if(Timer<100)
		{
			glcd_gotocr(0, 0);
			glcd_puts("aKaReZa");
			glcd_dots(7, 0, 14);

			sprintf(glcdBuffer, "Counter1: %011u", Counter);
			glcd_gotocr(0, 1);
			glcd_puts(glcdBuffer);

			sprintf(glcdBuffer, "Counter2: %011u", (Counter)/2);
			glcd_gotocr(0, 2);
			glcd_puts(glcdBuffer);

			sprintf(glcdBuffer, "Counter3: %011u", (Counter)/3);
			glcd_gotocr(0, 3);
			glcd_puts(glcdBuffer);

			sprintf(glcdBuffer, "Counter4: %011u", (Counter)/4);
			glcd_gotocr(0, 4);
			glcd_puts(glcdBuffer);

			sprintf(glcdBuffer, "Counter5: %011u", (Counter)/5);
			glcd_gotocr(0, 5);
			glcd_puts(glcdBuffer);

			sprintf(glcdBuffer, "Counter6: %011u", (Counter)/6);
			glcd_gotocr(0, 6);
			glcd_puts(glcdBuffer);

			sprintf(glcdBuffer, "Counter7: %011u", (Counter)/7);
			glcd_gotocr(0, 7);
			glcd_puts(glcdBuffer);
		}
		else if(Timer<120)
		{
			glcd_pic(gLCD_Logo_Scanner);
			glcd_gotocr(0, 7);
			glcd_puts("gLCD_Logo_Scanner");
		}
		else if(Timer<140)
		{
			glcd_pic(gLCD_Logo_Error);
			glcd_gotocr(0, 7);
			glcd_puts("gLCD_Logo_Error");
		}
		else if(Timer<160)
		{
			glcd_pic(gLCD_Logo_Done);
			glcd_gotocr(0, 7);
			glcd_puts("gLCD_Logo_Done");
		}
		else if(Timer<180)
		{
			glcd_pic(gLCD_Logo_Progress);
			glcd_gotocr(0, 7);
			glcd_puts("gLCD_Logo_Progress");
		}
		else
		{
			glcd_Init();
			Timer = 0;
		};
  }
  /* USER CODE END 3 */
}

void SystemClock_Config(void)
{
  RCC_OscInitTypeDef RCC_OscInitStruct = {0};
  RCC_ClkInitTypeDef RCC_ClkInitStruct = {0};

  /** Initializes the RCC Oscillators according to the specified parameters
  * in the RCC_OscInitTypeDef structure.
  */
  RCC_OscInitStruct.OscillatorType = RCC_OSCILLATORTYPE_HSE;
  RCC_OscInitStruct.HSEState = RCC_HSE_ON;
  RCC_OscInitStruct.HSEPredivValue = RCC_HSE_PREDIV_DIV1;
  RCC_OscInitStruct.HSIState = RCC_HSI_ON;
  RCC_OscInitStruct.PLL.PLLState = RCC_PLL_ON;
  RCC_OscInitStruct.PLL.PLLSource = RCC_PLLSOURCE_HSE;
  RCC_OscInitStruct.PLL.PLLMUL = RCC_PLL_MUL8;
  if (HAL_RCC_OscConfig(&RCC_OscInitStruct) != HAL_OK)
  {
    Error_Handler();
  }

  /** Initializes the CPU, AHB and APB buses clocks
  */
  RCC_ClkInitStruct.ClockType = RCC_CLOCKTYPE_HCLK|RCC_CLOCKTYPE_SYSCLK
                              |RCC_CLOCKTYPE_PCLK1|RCC_CLOCKTYPE_PCLK2;
  RCC_ClkInitStruct.SYSCLKSource = RCC_SYSCLKSOURCE_PLLCLK;
  RCC_ClkInitStruct.AHBCLKDivider = RCC_SYSCLK_DIV1;
  RCC_ClkInitStruct.APB1CLKDivider = RCC_HCLK_DIV2;
  RCC_ClkInitStruct.APB2CLKDivider = RCC_HCLK_DIV1;

  if (HAL_RCC_ClockConfig(&RCC_ClkInitStruct, FLASH_LATENCY_2) != HAL_OK)
  {
    Error_Handler();
  }

  /** Enables the Clock Security System
  */
  HAL_RCC_EnableCSS();
}

void Error_Handler(void)
{
  __disable_irq();
  while (1)
  {
  }
}
